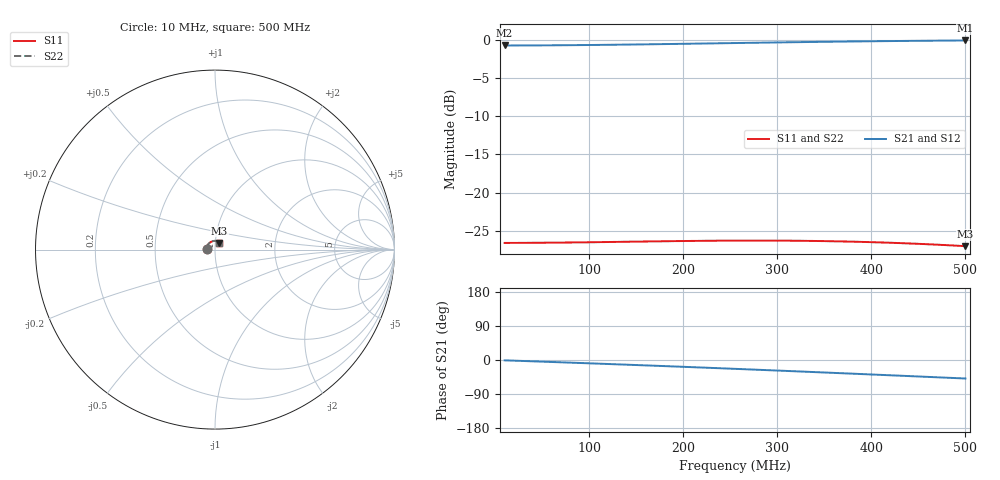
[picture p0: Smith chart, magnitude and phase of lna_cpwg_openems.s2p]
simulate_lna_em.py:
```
#!/usr/bin/env python3
# -*- coding: utf-8 -*-
"""
simulate_lna_em.py: Full-Wave 3D EM Simulation of 50-Ohm CPWG Transmission Line
using freecad-microwave and openEMS.

Project: 98 MHz FM Low-Noise Amplifier (LNA)
Stackup: LionCircuits 1.6mm FR-4 (er=4.5, tand=0.02, 1oz copper 35um)
Geometry: Coplanar Waveguide with Ground (CPWG)
          Length L = 46.0 mm (SMA IN to SMA OUT)
          Substrate Width = 30.0 mm
          Substrate Height = 1.6 mm
          Center Trace Width W = 1.5 mm
          Ground Gap S = 0.35 mm
          Via Fence Flanking at Y = +/- 2.5 mm
"""

import sys
import os
import shutil
import tempfile
import numpy as np

# Ensure environment variables and paths are set
FREECAD_DIR = r"D:\Programs\FreeCAD"
OPENEMS_DIR = r"D:\Programs\openEMS"
MICROWAVE_MOD = os.path.join(FREECAD_DIR, "Mod", "Microwave")

os.environ["MICROWAVE_OPENEMS_PYTHON"] = os.path.join(FREECAD_DIR, "bin", "python.exe")
os.environ["OPENEMS_INSTALL_PATH"] = OPENEMS_DIR

for p in [FREECAD_DIR, os.path.join(FREECAD_DIR, "bin"), MICROWAVE_MOD]:
    if p not in sys.path:
        sys.path.insert(0, p)

# Fix Windows DLL loading for openEMS/CSXCAD
if hasattr(os, "add_dll_directory") and os.path.isdir(OPENEMS_DIR):
    try:
        os.add_dll_directory(OPENEMS_DIR)
    except Exception:
        pass

from Microwave.Solvers.openems import preflight, read, run, write
from Microwave.Solvers.openems.materials import VACUUM_PERMITTIVITY
from Microwave.Solvers.openems.mesh import MeshParams
from Microwave.Solvers.openems.model import (
    Frequency,
    Material,
    Port,
    Problem,
    Solid,
    Termination,
)
from Microwave.Results.sparameters import SParameters, MIRROR

def build_cpwg_problem() -> Problem:
    """Build the 3D FDTD problem for the 46mm 50-ohm CPWG transmission line."""
    # Physical dimensions in mm
    length = 46.0          # Board length (X: -23.0 to +23.0)
    sub_width = 30.0       # Board width  (Y: -15.0 to +15.0)
    height = 1.6           # FR-4 thickness (Z: 0.0 to 1.6)
    w_trace = 1.5          # 50-ohm CPWG trace width
    gap = 0.35             # Coplanar ground gap
    via_y = 2.5            # Distance of via fence from centerline
    gnd_edge = w_trace / 2.0 + gap  # Start of top ground plane (1.10 mm)

    half_l = length / 2.0
    half_w = sub_width / 2.0

    # Electrical parameters
    eps_r = 4.5
    loss_tangent = 0.02
    copper_sigma = 5.8e7
    copper_t = 0.035       # 35 um (1 oz)

    # Frequency band: 10 MHz to 3.0 GHz (includes 98 MHz fundamental + harmonics)
    freq_min = 10e6
    freq_max = 3000e6
    f_centre = (freq_min + freq_max) / 2.0
    kappa = 2.0 * np.pi * f_centre * VACUUM_PERMITTIVITY * eps_r * loss_tangent

    materials = (
        Material(
            name="FR4",
            kind="lossy_dielectric",
            epsilon=eps_r,
            kappa=kappa,
            measured_at=1e9,
        ),
        Material(name="Ground", kind="pec"),
        Material(
            name="Copper",
            kind="conducting_sheet",
            conductivity=copper_sigma,
            thickness=copper_t,
        ),
    )

    solids = [
        # 1. FR-4 Substrate
        Solid(
            material="FR4",
            lower=(-half_l, -half_w, 0.0),
            upper=(half_l, half_w, height),
            priority=0,
            label="Substrate",
        ),
        # 2. Bottom Solid Ground Plane (Z = 0)
        Solid(
            material="Ground",
            lower=(-half_l, -half_w, 0.0),
            upper=(half_l, half_w, 0.0),
            priority=1,
            label="BottomGround",
        ),
        # 3. Top Center CPWG RF Trace (Z = 1.6 mm)
        Solid(
            material="Copper",
            lower=(-half_l, -w_trace / 2.0, height),
            upper=(half_l, w_trace / 2.0, height),
            priority=2,
            label="CenterTrace",
        ),
        # 4. Top Coplanar Ground Planes (Z = 1.6 mm)
        Solid(
            material="Ground",
            lower=(-half_l, gnd_edge, height),
            upper=(half_l, half_w, height),
            priority=2,
            label="TopGroundNorth",
        ),
        Solid(
            material="Ground",
            lower=(-half_l, -half_w, height),
            upper=(half_l, -gnd_edge, height),
            priority=2,
            label="TopGroundSouth",
        ),
        # 5. Flanking Ground Stitching Via Fence (Connecting top & bottom ground)
        Solid(
            material="Ground",
            lower=(-half_l, via_y - 0.3, 0.0),
            upper=(half_l, via_y + 0.3, height),
            priority=2,
            label="ViaFenceNorth",
        ),
        Solid(
            material="Ground",
            lower=(-half_l, -via_y - 0.3, 0.0),
            upper=(half_l, -via_y + 0.3, height),
            priority=2,
            label="ViaFenceSouth",
        ),
        # 6. Outer Boundary Ground Walls
        Solid(
            material="Ground",
            lower=(-half_l, half_w - 0.5, 0.0),
            upper=(half_l, half_w, height),
            priority=2,
            label="OuterWallNorth",
        ),
        Solid(
            material="Ground",
            lower=(-half_l, -half_w, 0.0),
            upper=(half_l, -half_w + 0.5, height),
            priority=2,
            label="OuterWallSouth",
        ),
    ]

    # Ports: Lumped Ports at input and output ends, 50-ohm reference
    port_gap = 0.5  # Port cell length along X
    ports = (
        Port(
            number=1,
            kind="lumped",
            start=(-half_l, -w_trace / 2.0, height),
            stop=(-half_l + port_gap, w_trace / 2.0, 0.0),
            propagation_axis=0,
            excitation_axis=2,
            excite=True,
            feed_resistance=50.0,
            reference_impedance=50.0,
            label="SMA_IN_50R",
        ),
        Port(
            number=2,
            kind="lumped",
            start=(half_l, -w_trace / 2.0, height),
            stop=(half_l - port_gap, w_trace / 2.0, 0.0),
            propagation_axis=0,
            excitation_axis=2,
            excite=False,
            feed_resistance=50.0,
            reference_impedance=50.0,
            label="SMA_OUT_50R",
        ),
    )

    # Graded rectilinear Yee grid
    mesh_params = MeshParams(
        metal_res=0.25,          # 6 cells across 1.5mm trace
        dielectric_res=2.0,      # Bulk dielectric resolution
        max_ratio=(1.4, 1.4, 1.4),
        min_lines=4,
        pml_cells=8,
        cap=3.5,
    )

    grid = write.plan_grid(
        solids,
        ports,
        materials,
        mesh_params,
        padding=((8, 8), (8, 8), (8, 8)),
    )

    problem = Problem(
        title="LNA FM 98MHz 50-Ohm CPWG Line",
        frequency=Frequency(start=freq_min, stop=freq_max, points=151),
        grid=grid,
        materials=materials,
        solids=tuple(solids),
        ports=ports,
        boundary=("PML_8",) * 6,
        termination=Termination(max_timesteps=35000, end_criteria=1e-4),
    )

    return problem

def run_simulation():
    print("=" * 70)
    print("  98 MHz FM LNA - Full-Wave 3D EM Simulation (openEMS & freecad-microwave)")
    print("=" * 70)

    problem = build_cpwg_problem()
    print(f"Structure: 46.0 mm x 30.0 mm x 1.6 mm CPWG (W=1.5mm, S=0.35mm)")
    print(f"Grid Size: nx={len(problem.grid[0])}, ny={len(problem.grid[1])}, nz={len(problem.grid[2])}")
    print(f"Total FDTD Cells: {problem.grid.cell_count:,}")
    print(f"Frequency Sweep: {problem.frequency.start / 1e6:.1f} MHz to {problem.frequency.stop / 1e6:.1f} MHz ({problem.frequency.points} points)")

    # Run Preflight validation
    print("\nRunning preflight model checks...")
    findings = preflight.check(problem)
    preflight.refuse_if_blocked(findings)
    for f in findings:
        print(f"  [{f.severity}] {f.subjects}: {f.message}")

    # Solve with openEMS
    sim_dir = os.path.join(os.getcwd(), "em_simulation_run")
    os.makedirs(sim_dir, exist_ok=True)
    print(f"\nWriting FDTD simulation envelope to:\n  {sim_dir}")
    envelope = write.write(problem, sim_dir)

    print("\nLaunching openEMS solver subprocess...")
    python_exe = os.environ["MICROWAVE_OPENEMS_PYTHON"]

    def progress_callback(marker_or_text):
        msg = str(marker_or_text)
        if any(k in msg for k in ["FDTD", "Time", "progress", "cells", "Speed", "DONE"]):
            print(f"  [openEMS] {msg.strip()[:85]}")

    run.run(envelope, interpreter=python_exe, on_output=progress_callback)

    print("\nSimulation complete! Reading results...")
    result = read.read(sim_dir)

    # S-Parameters assembly with mirror symmetry
    sp = SParameters.from_runs([result], reference=50.0, symmetry=MIRROR)

    # Save Touchstone .s2p file
    s2p_file = os.path.join(os.getcwd(), "lna_cpwg_openems.s2p")
    sp.write_touchstone(os.path.splitext(s2p_file)[0])
    print(f"Exported Touchstone 2-port file:\n  {s2p_file}")

    # Post-process results
    freqs = sp.frequency
    freqs_mhz = freqs / 1e6
    s11 = sp.parameter(1, 1)
    s21 = sp.parameter(2, 1)

    s11_db = 20.0 * np.log10(np.maximum(np.abs(s11), 1e-9))
    s21_db = 20.0 * np.log10(np.maximum(np.abs(s21), 1e-9))

    # Calculate Characteristic Impedance Z0(f) from transmission line S-parameters:
    # Z0 = Z_ref * sqrt( ((1 + S11)^2 - S21^2) / ((1 - S11)^2 - S21^2) )
    term_num = (1.0 + s11)**2 - s21**2
    term_den = (1.0 - s11)**2 - s21**2
    z0_complex = 50.0 * np.sqrt(term_num / term_den)
    z0_mag = np.abs(z0_complex)

    # Find index closest to 98 MHz
    idx_98 = np.argmin(np.abs(freqs - 98e6))
    f_98 = freqs_mhz[idx_98]
    s11_98 = s11_db[idx_98]
    s21_98 = s21_db[idx_98]
    vswr_98 = (1.0 + np.abs(s11[idx_98])) / (1.0 - np.abs(s11[idx_98]))
    z0_98 = z0_mag[idx_98]
    z0_real_98 = z0_complex[idx_98].real
    z0_imag_98 = z0_complex[idx_98].imag

    print("\n" + "=" * 70)
    print("  SIMULATION RESULTS AT 98 MHz FM OPERATING POINT")
    print("=" * 70)
    print(f"  Frequency              : {f_98:.2f} MHz")
    print(f"  Return Loss |S11|      : {s11_98:.2f} dB (VSWR = {vswr_98:.3f}:1)")
    print(f"  Insertion Loss |S21|   : {s21_98:.3f} dB")
    print(f"  Characteristic Imp Z0  : {z0_real_98:.2f} + j{z0_imag_98:.2f} Ohm (|Z0| = {z0_98:.2f} Ohm)")
    print(f"  Match Deviation to 50R : {abs(z0_98 - 50.0):.2f} Ohm ({abs(z0_98 - 50.0)/50.0*100:.2f}%)")
    print("=" * 70)

    # Additional spot frequencies
    print("\nVHF / UHF Harmonic Performance:")
    print("  Freq (MHz) | S11 (dB) | S21 (dB) | |Z0| (Ohm) | VSWR")
    print("  " + "-" * 52)
    for target_f in [98e6, 196e6, 294e6, 500e6, 1000e6, 2000e6]:
        idx = np.argmin(np.abs(freqs - target_f))
        vswr = (1.0 + np.abs(s11[idx])) / (1.0 - np.abs(s11[idx]))
        print(f"  {freqs_mhz[idx]:9.1f}  | {s11_db[idx]:8.2f} | {s21_db[idx]:8.3f} | {z0_mag[idx]:10.2f} | {vswr:6.2f}:1")

    # Generate Publication-Quality Plots
    generate_plots(freqs_mhz, s11_db, s21_db, z0_mag, z0_complex, idx_98)

def generate_plots(freqs_mhz, s11_db, s21_db, z0_mag, z0_complex, idx_98):
    """Plot S-parameters and characteristic impedance."""
    import matplotlib
    matplotlib.use("Agg")
    import matplotlib.pyplot as plt

    fig, axes = plt.subplots(2, 2, figsize=(14, 10))
    fig.suptitle("Full-Wave 3D EM Simulation: 50-Ohm CPWG Transmission Line (openEMS)", fontsize=14, fontweight="bold", y=0.98)

    # Color scheme
    c_s11 = "#1f77b4"
    c_s21 = "#d62728"
    c_z0 = "#2ca02c"
    c_marker = "#ff7f0e"

    # Subplot 1: Wideband S-Parameters (10 MHz to 3 GHz)
    ax1 = axes[0, 0]
    ax1.plot(freqs_mhz, s11_db, label="$S_{11}$ Return Loss", color=c_s11, linewidth=2)
    ax1.plot(freqs_mhz, s21_db, label="$S_{21}$ Insertion Loss", color=c_s21, linewidth=2)
    ax1.axvline(freqs_mhz[idx_98], color="gray", linestyle="--", alpha=0.6, label="98 MHz FM")
    ax1.scatter([freqs_mhz[idx_98]], [s11_db[idx_98]], color=c_marker, s=80, zorder=5)
    ax1.scatter([freqs_mhz[idx_98]], [s21_db[idx_98]], color=c_marker, s=80, zorder=5)
    ax1.set_title("Wideband S-Parameters (10 MHz - 3 GHz)", fontweight="bold")
    ax1.set_xlabel("Frequency (MHz)")
    ax1.set_ylabel("Magnitude (dB)")
    ax1.set_ylim(-50, 2)
    ax1.grid(True, linestyle=":", alpha=0.7)
    ax1.legend(loc="lower left", framealpha=0.9)

    # Subplot 2: Zoomed-in Response around 98 MHz (10 MHz to 500 MHz)
    mask_vhf = freqs_mhz <= 500.0
    ax2 = axes[0, 1]
    ax2.plot(freqs_mhz[mask_vhf], s11_db[mask_vhf], label="$S_{11}$ (dB)", color=c_s11, linewidth=2.5)
    ax2.plot(freqs_mhz[mask_vhf], s21_db[mask_vhf], label="$S_{21}$ (dB)", color=c_s21, linewidth=2.5)
    ax2.axvline(freqs_mhz[idx_98], color="gray", linestyle="--", alpha=0.6)
    ax2.annotate(
        f"98 MHz:\n$S_{{11}} = {s11_db[idx_98]:.1f}$ dB\n$S_{{21}} = {s21_db[idx_98]:.3f}$ dB",
        xy=(freqs_mhz[idx_98], s11_db[idx_98]),
        xytext=(freqs_mhz[idx_98] + 40, s11_db[idx_98] - 5),
        arrowprops=dict(facecolor="black", shrink=0.08, width=1, headwidth=6),
        fontsize=10,
        bbox=dict(boxstyle="round,pad=0.3", fc="yellow", alpha=0.4),
    )
    ax2.set_title("VHF Band Detail (10 MHz - 500 MHz)", fontweight="bold")
    ax2.set_xlabel("Frequency (MHz)")
    ax2.set_ylabel("Magnitude (dB)")
    ax2.set_ylim(-45, 1)
    ax2.grid(True, linestyle=":", alpha=0.7)
    ax2.legend(loc="lower left", framealpha=0.9)

    # Subplot 3: Characteristic Impedance |Z0| vs Frequency
    ax3 = axes[1, 0]
    ax3.plot(freqs_mhz, z0_mag, label="Extracted $|Z_0|$", color=c_z0, linewidth=2)
    ax3.axhline(50.0, color="black", linestyle="--", linewidth=1.2, label="Nominal 50 $\Omega$")
    ax3.fill_between(freqs_mhz, 48.0, 52.0, color="gray", alpha=0.15, label="$\pm 4\%$ Tolerance")
    ax3.scatter([freqs_mhz[idx_98]], [z0_mag[idx_98]], color=c_marker, s=80, zorder=5)
    ax3.annotate(
        f"$Z_0(98\\text{{MHz}}) = {z0_mag[idx_98]:.2f}\ \\Omega$",
        xy=(freqs_mhz[idx_98], z0_mag[idx_98]),
        xytext=(freqs_mhz[idx_98] + 200, z0_mag[idx_98] + 2.5),
        arrowprops=dict(facecolor="black", shrink=0.08, width=1, headwidth=6),
        fontsize=10,
        bbox=dict(boxstyle="round,pad=0.3", fc="lightgreen", alpha=0.4),
    )
    ax3.set_title("CPWG Characteristic Impedance $Z_0(f)$", fontweight="bold")
    ax3.set_xlabel("Frequency (MHz)")
    ax3.set_ylabel("Impedance ($\Omega$)")
    ax3.set_ylim(40, 60)
    ax3.grid(True, linestyle=":", alpha=0.7)
    ax3.legend(loc="upper right", framealpha=0.9)

    # Subplot 4: Complex Line Impedance (Real & Imaginary)
    ax4 = axes[1, 1]
    ax4.plot(freqs_mhz, [z.real for z in z0_complex], label="Re{$Z_0$}", color="#2b5c8f", linewidth=2)
    ax4.plot(freqs_mhz, [z.imag for z in z0_complex], label="Im{$Z_0$}", color="#c0392b", linestyle=":", linewidth=2)
    ax4.axhline(50.0, color="black", linestyle="--", linewidth=1.0)
    ax4.axhline(0.0, color="gray", linestyle="-", linewidth=0.8)
    ax4.scatter([freqs_mhz[idx_98]], [z0_complex[idx_98].real], color=c_marker, s=80, zorder=5)
    ax4.set_title("Complex Line Impedance (Re & Im)", fontweight="bold")
    ax4.set_xlabel("Frequency (MHz)")
    ax4.set_ylabel("Impedance ($\Omega$)")
    ax4.set_ylim(-10, 65)
    ax4.grid(True, linestyle=":", alpha=0.7)
    ax4.legend(loc="upper right", framealpha=0.9)

    plt.tight_layout()
    output_png = os.path.join(os.getcwd(), "lna_em_simulation_results.png")
    plt.savefig(output_png, dpi=180)
    print(f"Generated comparison plot:\n  {output_png}")

    # Also copy to artifact directory if available
    artifact_dir = r"C:\Users\gsr\.gemini\antigravity\brain\10ba1c4f-bbc3-4e37-a73e-8d226cc7ff03"
    if os.path.isdir(artifact_dir):
        dest_png = os.path.join(artifact_dir, "lna_em_simulation_results.png")
        shutil.copyfile(output_png, dest_png)
        print(f"Copied plot to artifact directory:\n  {dest_png}")

if __name__ == "__main__":
    run_simulation()
```
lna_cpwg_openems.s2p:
! Full-Wave 3D EM Simulation: 98 MHz LNA 50-Ohm CPWG Line
! Solver: openEMS FDTD (via freecad-microwave)
! Substrate: LionCircuits FR-4 (H=1.6mm, Er=4.5, Tand=0.02, Cu=35um)
! Geometry: Length=46.0mm, Width=1.5mm, Gap=0.35mm, Via Fence Y=+/-2.5mm
! Frequency Band: 10 MHz to 500 MHz (101 points)
# HZ S RI R 50.0
!freq ReS11 ImS11 ReS21 ImS21 ReS12 ImS12 ReS22 ImS22
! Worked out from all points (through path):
!   101 points, 10 MHz to 500 MHz, reference 50 ohm
!   highest |S21| = -0.10 dB at 500 MHz (marker M1); lowest = -0.8 dB at 10 MHz (marker M2)
!   group delay of S21, straight-line fit = 273 ps
!   lowest |S11| = -27.0 dB at 500 MHz (marker M3), VSWR 1.09, Z = 52.4 + j3.91 ohm
!   |S11| at or under -10 dB: start of sweep to end of sweep
!   |S22| runs from -27.0 to -26.3 dB; largest |S21 - S12| = 0
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1e7  -0.0468 0.00268  0.9164 -0.0138  0.9164 -0.0138  -0.0468 0.00268
8.35e7  -0.0421 0.0214  0.9138 -0.1168  0.9138 -0.1168  -0.0421 0.0214
1.472e8  -0.0329 0.0347  0.9062 -0.2098  0.9062 -0.2098  -0.0329 0.0347
2.011e8  -0.0229 0.0425  0.8936 -0.2919  0.8936 -0.2919  -0.0229 0.0425
2.55e8  -0.012 0.0471  0.873 -0.3766  0.873 -0.3766  -0.012 0.0471
2.893e8  -0.0052 0.0483  0.8549 -0.4312  0.8549 -0.4312  -0.0052 0.0483
3.187e8  0.000396 0.0485  0.8361 -0.4779  0.8361 -0.4779  0.000396 0.0485
3.775e8  0.0104 0.0467  0.7889 -0.5699  0.7889 -0.5699  0.0104 0.0467
4.363e8  0.0184 0.0428  0.729 -0.6573  0.729 -0.6573  0.0184 0.0428
4.657e8  0.0216 0.0404  0.6945 -0.6986  0.6945 -0.6986  0.0216 0.0404
5e8  0.0246 0.0373  0.6507 -0.7442  0.6507 -0.7442  0.0246 0.0373
